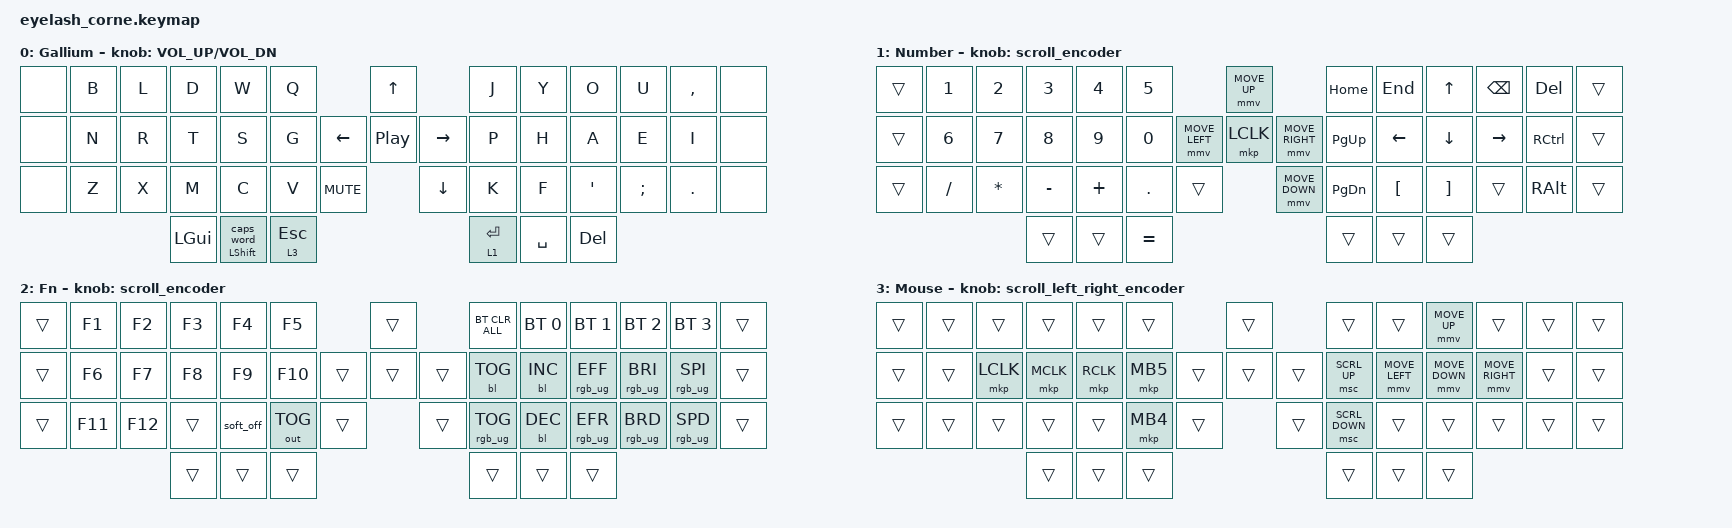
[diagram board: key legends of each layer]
#define ZMK_POINTING_DEFAULT_MOVE_VAL 1200  // 600
#define ZMK_POINTING_DEFAULT_SCRL_VAL 100   // 10

#include <input/processors.dtsi>
#include <zephyr/dt-bindings/input/input-event-codes.h>
#include <behaviors.dtsi>
#include <dt-bindings/zmk/backlight.h>
#include <dt-bindings/zmk/bt.h>
#include <dt-bindings/zmk/keys.h>
#include <dt-bindings/zmk/outputs.h>
#include <dt-bindings/zmk/pointing.h>
#include <dt-bindings/zmk/rgb.h>

&mmv_input_listener { input-processors = <&zip_xy_scaler 2 1>; };

&msc_input_listener { input-processors = <&zip_scroll_scaler 2 1>; };

&msc {
    acceleration-exponent = <1>;      // 0
    time-to-max-speed-ms = <100>;       // 300
    delay-ms = <0>;                   // 0
};

&mmv {
    time-to-max-speed-ms = <500>;
    acceleration-exponent = <1>;
    trigger-period-ms = <16>;
};

&soft_off { hold-time-ms = <2000>; };

/ {
    behaviors {
        td0: td0 {
            compatible = "zmk,behavior-tap-dance";
            display-name = "Shift/Caps Lock Tap Dance";
            #binding-cells = <0>;
            bindings = <&kp LEFT_SHIFT>, <&kp CAPS>;
        };

        shift_space_caps: shift_space_caps {
            compatible = "zmk,behavior-tap-dance";
            label = "shift_space_caps";
            #binding-cells = <0>;
            bindings = <&mt LEFT_SHIFT SPACE>, <&caps_word>;
        };

        shift_caps: shift_caps {
            compatible = "zmk,behavior-hold-tap";
            label = "shift_caps";
            bindings = <&kp>, <&caps_word>;

            #binding-cells = <2>;
            tapping-term-ms = <200>;
        };
    };

    rgb_encoder: rgb_encoder {
        compatible = "zmk,behavior-sensor-rotate";
        #sensor-binding-cells = <0>;
        bindings = <&rgb_ug RGB_BRI>, <&rgb_ug RGB_BRD>;
    };

    scroll_encoder: scroll_encoder {
        compatible = "zmk,behavior-sensor-rotate";
        #sensor-binding-cells = <0>;
        bindings = <&msc SCRL_DOWN>, <&msc SCRL_UP>;

        tap-ms = <100>;
    };

    scroll_left_right_encoder: scroll_left_right_encoder {
        compatible = "zmk,behavior-sensor-rotate";
        #sensor-binding-cells = <0>;
        bindings = <&msc SCRL_RIGHT>, <&msc SCRL_LEFT>;

        tap-ms = <100>;
    };

    combos {
        compatible = "zmk,combos";

        softoff {
            bindings = <&soft_off>;
            key-positions = <1 15 29>;
        };

        tab {
            bindings = <&kp TAB>;
            key-positions = <15 16>;
            layers = <1>;
        };

        layer_2 {
            bindings = <&mo 2>;
            key-positions = <44 45>;
        };
    };

    keymap {
        compatible = "zmk,keymap";

        default_layer {
            display-name = "Gallium";
            bindings = <
&none  &kp B  &kp L  &kp D         &kp W                     &kp Q                                 &kp UP                       &kp J        &kp Y      &kp O       &kp U     &kp COMMA   &none
&none  &kp N  &kp R  &kp T         &kp S                     &kp G                       &kp LEFT  &kp C_PLAY_PAUSE  &kp RIGHT  &kp P        &kp H      &kp A       &kp E     &kp I       &none
&none  &kp Z  &kp X  &kp M         &kp C                     &kp V         &kp C_MUTE              &kp DOWN                     &kp K        &kp F      &kp APOS    &kp SEMI  &kp PERIOD  &none
                     &kp LEFT_GUI  &shift_caps LEFT_SHIFT 0  &lt 3 ESCAPE                                                       &lt 1 ENTER  &kp SPACE  &kp DELETE
            >;

            sensor-bindings = <&inc_dec_kp C_VOLUME_UP C_VOL_DN>;
        };

        layer_1 {
            display-name = "Number";
            bindings = <
&trans  &kp N1     &kp N2     &kp N3     &kp N4    &kp N5                               &mmv MOVE_UP                     &kp HOME       &kp END           &kp UP             &kp BACKSPACE  &kp DELETE     &trans
&trans  &kp N6     &kp N7     &kp N8     &kp N9    &kp N0               &mmv MOVE_LEFT  &mkp LCLK       &mmv MOVE_RIGHT  &kp PAGE_UP    &kp LEFT          &kp DOWN           &kp RIGHT      &kp RCTRL      &trans
&trans  &kp SLASH  &kp ASTRK  &kp MINUS  &kp PLUS  &kp DOT    &trans                    &mmv MOVE_DOWN                   &kp PAGE_DOWN  &kp LEFT_BRACKET  &kp RIGHT_BRACKET  &trans         &kp RIGHT_ALT  &trans
                              &trans     &trans    &kp EQUAL                                                             &trans         &trans            &trans
            >;

            sensor-bindings = <&scroll_encoder>;
        };

        Layer_2 {
            display-name = "Fn";
            bindings = <
&trans  &kp F1   &kp F2   &kp F3  &kp F4     &kp F5                          &trans          &bt BT_CLR_ALL   &bt BT_SEL 0  &bt BT_SEL 1     &bt BT_SEL 2     &bt BT_SEL 3     &trans
&trans  &kp F6   &kp F7   &kp F8  &kp F9     &kp F10                 &trans  &trans  &trans  &bl BL_TOG       &bl BL_INC    &rgb_ug RGB_EFF  &rgb_ug RGB_BRI  &rgb_ug RGB_SPI  &trans
&trans  &kp F11  &kp F12  &trans  &soft_off  &out OUT_TOG  &trans            &trans          &rgb_ug RGB_TOG  &bl BL_DEC    &rgb_ug RGB_EFR  &rgb_ug RGB_BRD  &rgb_ug RGB_SPD  &trans
                          &trans  &trans     &trans                                          &trans           &trans        &trans
            >;

            sensor-bindings = <&scroll_encoder>;
        };

        layer_3 {
            display-name = "Mouse";
            bindings = <
&trans  &trans  &trans     &trans     &trans     &trans                      &trans          &trans          &trans          &mmv MOVE_UP    &trans           &trans  &trans
&trans  &trans  &mkp LCLK  &mkp MCLK  &mkp RCLK  &mkp MB5            &trans  &trans  &trans  &msc SCRL_UP    &mmv MOVE_LEFT  &mmv MOVE_DOWN  &mmv MOVE_RIGHT  &trans  &trans
&trans  &trans  &trans     &trans     &trans     &mkp MB4  &trans            &trans          &msc SCRL_DOWN  &trans          &trans          &trans           &trans  &trans
                           &trans     &trans     &trans                                      &trans          &trans          &trans
            >;

            sensor-bindings = <&scroll_left_right_encoder>;
        };
    };
};
